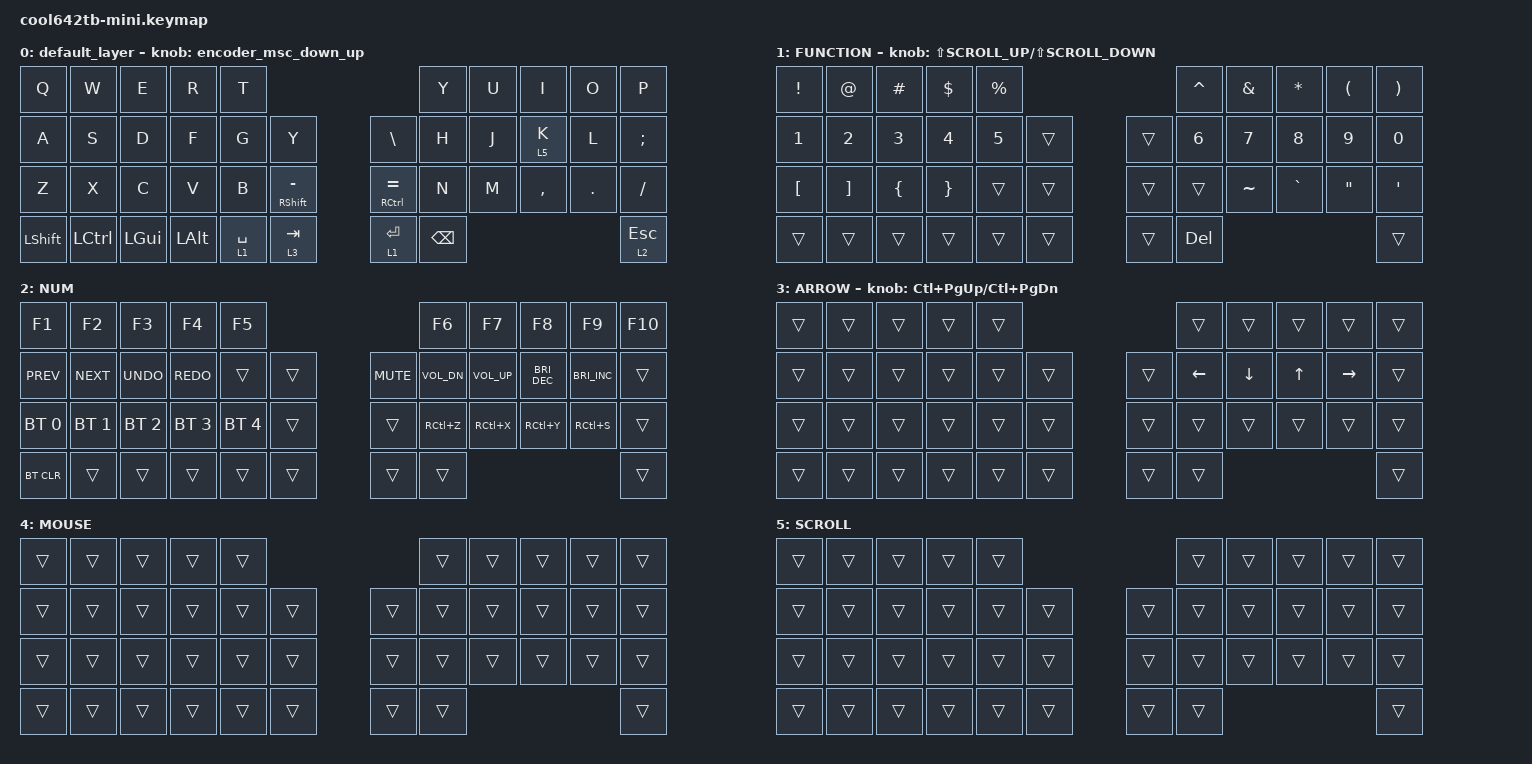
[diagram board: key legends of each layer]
#include <behaviors.dtsi>
#include <dt-bindings/zmk/bt.h>
#include <dt-bindings/zmk/keys.h>
#include <dt-bindings/zmk/pointing.h>

#define MOUSE 4
#define SCROLL 5
#define NUM 6
#define ZMK_POINTING_DEFAULT_SCRL_VAL 80

&mt {
    flavor = "balanced";
    quick-tap-ms = <0>;
};

/ {
    combos {
        compatible = "zmk,combos";

        shift_tab {
            bindings = <&kp LANG2>;
            key-positions = <12 13>;
        };

        MB1combo {
            bindings = <&mkp MB1>;
            key-positions = <18 19>;
        };

        MB2combo {
            bindings = <&mkp MB2>;
            key-positions = <19 20>;
        };

        LANG1combo {
            bindings = <&kp LANG1>;
            key-positions = <12 11>;
        };
    };

    behaviors {
        encoder_msc_down_up: encoder_msc_down_up {
            compatible = "zmk,behavior-sensor-rotate";
            label = "ENCODER_MSC_DOWN_UP";
            #sensor-binding-cells = <0>;
            bindings = <&msc SCRL_UP>, <&msc SCRL_DOWN>;

            tap-ms = <20>;
        };
    };

    keymap {
        compatible = "zmk,keymap";

        default_layer {
            bindings = <
&kp Q           &kp W             &kp E         &kp R         &kp T                                                    &kp Y          &kp U  &kp I      &kp O    &kp P
&kp A           &kp S             &kp D         &kp F         &kp G        &kp Y                      &kp BACKSLASH    &kp H          &kp J  &lt 5 K    &kp L    &kp SEMICOLON
&kp Z           &kp X             &kp C         &kp V         &kp B        &mt RIGHT_SHIFT MINUS      &mt RCTRL EQUAL  &kp N          &kp M  &kp COMMA  &kp DOT  &kp SLASH
&kp LEFT_SHIFT  &kp LEFT_CONTROL  &kp LEFT_GUI  &kp LEFT_ALT  &lt 1 SPACE  &lt 3 TAB                  &lt 1 ENTER      &kp BACKSPACE                             &lt 2 ESCAPE
            >;

            sensor-bindings = <&encoder_msc_down_up>;
        };

        FUNCTION {
            bindings = <
&kp EXCLAMATION   &kp AT_SIGN        &kp HASH        &kp DOLLAR       &kp PERCENT                      &kp CARET     &kp AMPERSAND  &kp ASTERISK  &kp LEFT_PARENTHESIS  &kp RIGHT_PARENTHESIS
&kp NUMBER_1      &kp NUMBER_2       &kp NUMBER_3    &kp NUMBER_4     &kp N5       &trans      &trans  &kp NUMBER_6  &kp N7         &kp N8        &kp N9                &kp N0
&kp LEFT_BRACKET  &kp RIGHT_BRACKET  &kp LEFT_BRACE  &kp RIGHT_BRACE  &trans       &trans      &trans  &trans        &kp TILDE      &kp GRAVE     &kp DOUBLE_QUOTES     &kp SQT
&trans            &trans             &trans          &trans           &trans       &trans      &trans  &kp DELETE                                                       &trans
            >;

            sensor-bindings = <&inc_dec_kp LS(K_SCROLL_UP) LS(K_SCROLL_DOWN)>;
        };

        NUM {
            bindings = <
&kp F1        &kp F2        &kp F3        &kp F4        &kp F5                                &kp F6        &kp F7           &kp F8                &kp F9         &kp F10
&kp K_PREV    &kp C_NEXT    &kp K_UNDO    &kp K_REDO    &trans        &trans      &kp K_MUTE  &kp C_VOL_DN  &kp C_VOLUME_UP  &kp C_BRIGHTNESS_DEC  &kp C_BRI_INC  &trans
&bt BT_SEL 0  &bt BT_SEL 1  &bt BT_SEL 2  &bt BT_SEL 3  &bt BT_SEL 4  &trans      &trans      &kp RC(Z)     &kp RC(X)        &kp RC(Y)             &kp RC(S)      &trans
&bt BT_CLR    &trans        &trans        &trans        &trans        &trans      &trans      &trans                                                              &trans
            >;
        };

        ARROW {
            bindings = <
&trans  &trans  &trans  &trans  &trans                      &trans    &trans    &trans        &trans     &trans
&trans  &trans  &trans  &trans  &trans  &trans      &trans  &kp LEFT  &kp DOWN  &kp UP_ARROW  &kp RIGHT  &trans
&trans  &trans  &trans  &trans  &trans  &trans      &trans  &trans    &trans    &trans        &trans     &trans
&trans  &trans  &trans  &trans  &trans  &trans      &trans  &trans                                       &trans
            >;

            sensor-bindings = <&inc_dec_kp LC(PAGE_UP) LC(PAGE_DOWN)>;
        };

        MOUSE {
            bindings = <
&trans  &trans  &trans  &trans  &trans                      &trans  &trans  &trans  &trans  &trans
&trans  &trans  &trans  &trans  &trans  &trans      &trans  &trans  &trans  &trans  &trans  &trans
&trans  &trans  &trans  &trans  &trans  &trans      &trans  &trans  &trans  &trans  &trans  &trans
&trans  &trans  &trans  &trans  &trans  &trans      &trans  &trans                          &trans
            >;
        };

        SCROLL {
            bindings = <
&trans  &trans  &trans  &trans  &trans                      &trans  &trans  &trans  &trans  &trans
&trans  &trans  &trans  &trans  &trans  &trans      &trans  &trans  &trans  &trans  &trans  &trans
&trans  &trans  &trans  &trans  &trans  &trans      &trans  &trans  &trans  &trans  &trans  &trans
&trans  &trans  &trans  &trans  &trans  &trans      &trans  &trans                          &trans
            >;
        };
    };
};
